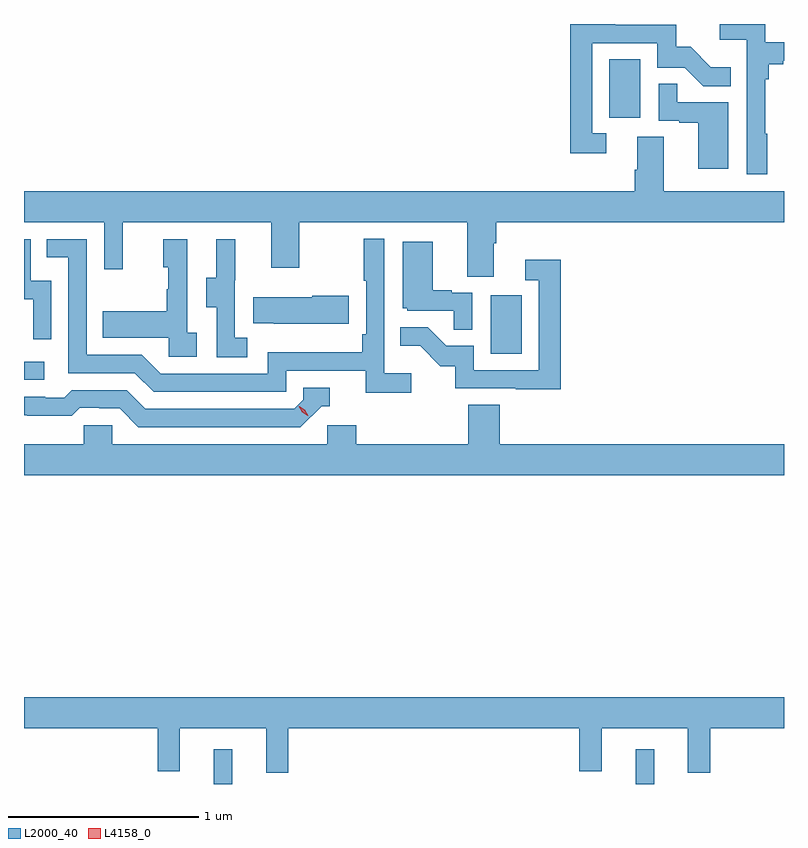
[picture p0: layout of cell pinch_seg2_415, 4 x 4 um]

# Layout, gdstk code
import gdstk
lib = gdstk.Library(unit=1e-6, precision=1e-09)
def R(c, l, rs):  # rectangles x0, y0, x1, y1
    for r in rs: c.add(gdstk.rectangle(r[:2], r[2:], *l))
def P(c, l, *ps):  # polygons
    for p in ps: c.add(gdstk.Polygon(p, *l))
L2000_40 = (2000, 40)
L4158_0 = (4158, 0)

pinch_seg2_415 = lib.new_cell('pinch_seg2_415')
R(pinch_seg2_415, L2000_40, [(950.229,611.379,950.326,611.563), (952.449,611.379,952.546,611.563), (949.23,613.506,949.336,613.602), (951.686,613.644,951.85,613.951), (952.31,614.886,952.474,615.193)])
P(pinch_seg2_415, L2000_40, [(952.294,614.805),(952.221,614.805),(952.221,615.279),(952.563,615.279),(952.563,615.15),(952.707,615.15),(952.805,615.052),(952.949,615.052),(952.949,615.151),(952.845,615.151),(952.738,615.258),(952.662,615.258),(952.662,615.375),(952.343,615.375),(952.343,615.379),(952.105,615.379),(952.105,614.7),(952.294,614.7)],
  [(953.143,614.801),(953.131,614.801),(953.131,615.089),(953.15,615.089),(953.15,615.166),(953.227,615.166),(953.227,615.185),(953.23,615.185),(953.23,615.282),(953.132,615.282),(953.132,615.379),(952.893,615.379),(952.893,615.296),(953.034,615.296),(953.034,614.589),(953.143,614.589)],
  [(952.936,614.967),(952.667,614.967),(952.667,615.065),(952.572,615.065),(952.572,614.871),(952.679,614.871),(952.679,614.859),(952.778,614.859),(952.778,614.616),(952.936,614.616)],
  [(951.703,614.224),(951.716,614.224),(951.716,614.336),(953.23,614.336),(953.23,614.5),(952.597,614.5),(952.597,614.786),(952.457,614.786),(952.457,614.612),(952.445,614.612),(952.445,614.5),(949.23,614.5),(949.23,614.336),(949.653,614.336),(949.653,614.088),(949.751,614.088),(949.751,614.336),(950.531,614.336),(950.531,614.097),(950.679,614.097),(950.679,614.336),(951.563,614.336),(951.563,614.05),(951.703,614.05)],
  [(951.268,613.54),(951.126,613.54),(951.126,614.248),(951.018,614.248),(951.018,614.029),(951.03,614.029),(951.03,613.747),(951.01,613.747),(951.01,613.651),(950.514,613.651),(950.514,613.539),(949.95,613.539),(949.851,613.638),(949.56,613.638),(949.56,614.247),(949.351,614.247),(949.351,614.151),(949.464,614.151),(949.464,613.542),(949.814,613.542),(949.913,613.443),(950.61,613.443),(950.61,613.554),(951.029,613.554),(951.029,613.438),(951.268,613.438)],
  [(949.374,614.028),(949.266,614.028),(949.266,614.247),(949.23,614.247),(949.23,613.931),(949.278,613.931),(949.278,613.719),(949.374,613.719)],
  [(950.14,613.754),(950.088,613.754),(950.088,614.245),(949.964,614.245),(949.964,614.1),(949.99,614.1),(949.99,613.982),(949.98,613.982),(949.98,613.867),(949.645,613.867),(949.645,613.727),(949.992,613.727),(949.992,613.629),(950.14,613.629)],
  [(950.404,613.727),(950.34,613.727),(950.34,614.031),(950.342,614.031),(950.342,614.245),(950.243,614.245),(950.243,614.043),(950.189,614.043),(950.189,613.888),(950.244,613.888),(950.244,613.624),(950.404,613.624)],
  [(951.588,613.965),(951.482,613.965),(951.482,613.978),(951.382,613.978),(951.382,614.233),(951.224,614.233),(951.224,613.884),(951.246,613.884),(951.246,613.869),(951.493,613.869),(951.493,613.771),(951.588,613.771)],
  [(952.055,614.137),(951.867,614.137),(951.867,614.031),(951.939,614.031),(951.939,613.557),(951.597,613.557),(951.597,613.686),(951.453,613.686),(951.355,613.784),(951.211,613.784),(951.211,613.685),(951.315,613.685),(951.422,613.578),(951.499,613.578),(951.499,613.461),(951.817,613.461),(951.817,613.456),(952.055,613.456)],
  [(950.938,613.95),(950.747,613.95),(950.747,613.942),(950.437,613.942),(950.437,613.805),(950.545,613.805),(950.545,613.802),(950.938,613.802)],
  [(950.796,613.368),(950.839,613.368),(950.839,613.464),(950.7,613.464),(950.7,613.401),(950.652,613.353),(949.869,613.353),(949.77,613.452),(949.481,613.452),(949.442,613.413),(949.343,613.413),(949.343,613.416),(949.23,613.416),(949.23,613.319),(949.248,613.319),(949.248,613.317),(949.481,613.317),(949.523,613.359),(949.626,613.359),(949.626,613.356),(949.733,613.356),(949.832,613.257),(950.685,613.257)],
  [(953.23,613.168),(951.734,613.168),(951.734,613.376),(951.569,613.376),(951.569,613.168),(950.978,613.168),(950.978,613.266),(950.826,613.266),(950.826,613.168),(949.695,613.168),(949.695,613.266),(949.545,613.266),(949.545,613.168),(949.23,613.168),(949.23,613.004),(953.23,613.004)],
  [(950.621,611.672),(952.153,611.672),(952.153,611.447),(952.271,611.447),(952.271,611.672),(952.724,611.672),(952.724,611.439),(952.841,611.439),(952.841,611.672),(953.23,611.672),(953.23,611.836),(949.23,611.836),(949.23,611.672),(949.933,611.672),(949.933,611.447),(950.051,611.447),(950.051,611.672),(950.504,611.672),(950.504,611.439),(950.621,611.439)])
P(pinch_seg2_415, L4158_0, [(950.724,613.316),(950.694,613.335),(950.677,613.368),(950.677,613.368),(950.678,613.368),(950.708,613.349),(950.725,613.316),(950.725,613.316)])

lib.write_gds('pinch_seg2_415.gds')
